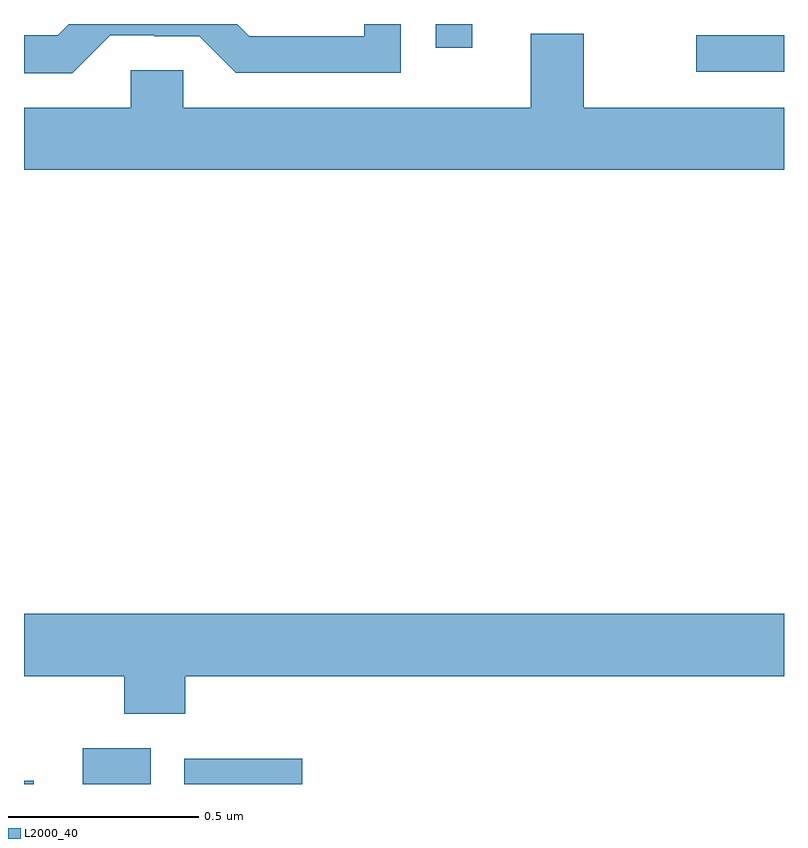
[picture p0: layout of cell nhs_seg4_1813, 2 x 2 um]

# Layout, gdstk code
import gdstk
lib = gdstk.Library(unit=1e-6, precision=1e-09)
def R(c, l, rs):  # rectangles x0, y0, x1, y1
    for r in rs: c.add(gdstk.rectangle(r[:2], r[2:], *l))
def P(c, l, *ps):  # polygons
    for p in ps: c.add(gdstk.Polygon(p, *l))
L2000_40 = (2000, 40)

nhs_seg4_1813 = lib.new_cell('nhs_seg4_1813')
R(nhs_seg4_1813, L2000_40, [(133,765.9,133.026,765.908), (133.154,765.9,133.333,765.994), (133.422,765.9,133.732,765.966), (134.769,767.775,135,767.871), (134.083,767.838,134.179,767.9)])
P(nhs_seg4_1813, L2000_40, [(133.227,767.871),(133.343,767.871),(133.343,767.868),(133.461,767.868),(133.557,767.772),(133.992,767.772),(133.992,767.9),(133.896,767.9),(133.896,767.868),(133.593,767.868),(133.561,767.9),(133.118,767.9),(133.089,767.871),(133,767.871),(133,767.771),(133.127,767.771)],
  [(135,767.68),(134.473,767.68),(134.473,767.875),(134.333,767.875),(134.333,767.68),(133.419,767.68),(133.419,767.778),(133.281,767.778),(133.281,767.68),(133,767.68),(133,767.516),(135,767.516)],
  [(133.424,766.184),(135,766.184),(135,766.348),(133,766.348),(133,766.184),(133.264,766.184),(133.264,766.085),(133.424,766.085)])

lib.write_gds('nhs_seg4_1813.gds')
